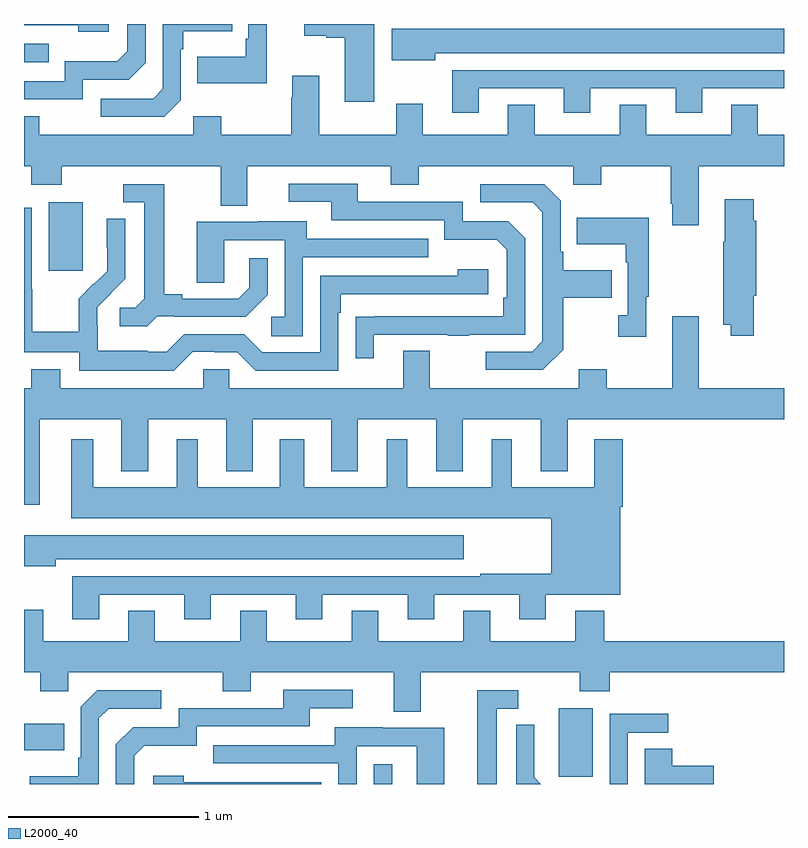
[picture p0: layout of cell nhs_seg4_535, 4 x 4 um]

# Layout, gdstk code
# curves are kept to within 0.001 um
import gdstk
lib = gdstk.Library(unit=1e-6, precision=1e-09)
def R(c, l, rs):  # rectangles x0, y0, x1, y1
    for r in rs: c.add(gdstk.rectangle(r[:2], r[2:], *l))
def P(c, l, *ps):  # polygons
    for p in ps: c.add(gdstk.Polygon(p, *l))
L2000_40 = (2000, 40)

nhs_seg4_535 = lib.new_cell('nhs_seg4_535')
R(nhs_seg4_535, L2000_40, [(138.84,794.9,138.937,795.004), (139.814,794.937,139.993,795.298), (137,795.077,137.213,795.217), (137.129,797.601,137.308,797.962), (137,798.699,137.129,798.795)])
P(nhs_seg4_535, L2000_40, [(137.446,798.9),(137,798.9),(137,798.894),(137.285,798.894),(137.285,798.86),(137.446,798.86)],
  [(138.278,798.9),(138.18,798.9),(138.18,798.823),(138.168,798.823),(138.168,798.727),(137.911,798.727),(137.911,798.587),(138.278,798.587)],
  [(137.31,798.606),(137.55,798.606),(137.64,798.696),(137.64,798.9),(137.544,798.9),(137.544,798.756),(137.491,798.703),(137.214,798.703),(137.214,798.6),(137,798.6),(137,798.504),(137.31,798.504)],
  [(138.844,798.9),(138.474,798.9),(138.474,798.839),(138.59,798.839),(138.59,798.827),(138.689,798.827),(138.689,798.492),(138.844,798.492)],
  [(137.826,798.498),(137.826,798.767),(137.839,798.767),(137.839,798.863),(138.095,798.863),(138.095,798.9),(137.73,798.9),(137.73,798.558),(137.679,798.507),(137.403,798.507),(137.403,798.411),(137.739,798.411)],
  [(139.165,798.746),(141,798.746),(141,798.874),(138.936,798.874),(138.936,798.71),(139.165,798.71)],
  [(139.393,798.561),(139.841,798.561),(139.841,798.432),(139.981,798.432),(139.981,798.561),(140.429,798.561),(140.429,798.432),(140.569,798.432),(140.569,798.561),(141,798.561),(141,798.657),(139.253,798.657),(139.253,798.432),(139.393,798.432)],
  [(140.551,798.152),(141,798.152),(141,798.316),(140.863,798.316),(140.863,798.476),(140.723,798.476),(140.723,798.316),(140.275,798.316),(140.275,798.476),(140.135,798.476),(140.135,798.316),(139.687,798.316),(139.687,798.476),(139.547,798.476),(139.547,798.316),(139.099,798.316),(139.099,798.481),(138.959,798.481),(138.959,798.316),(138.553,798.316),(138.553,798.628),(138.413,798.628),(138.413,798.515),(138.406,798.515),(138.406,798.316),(138.039,798.316),(138.039,798.415),(137.892,798.415),(137.892,798.316),(137.079,798.316),(137.079,798.415),(137,798.415),(137,798.152),(137.039,798.152),(137.039,798.053),(137.199,798.053),(137.199,798.152),(138.035,798.152),(138.035,797.944),(138.175,797.944),(138.175,798.152),(138.929,798.152),(138.929,798.053),(139.077,798.053),(139.077,798.152),(139.89,798.152),(139.89,798.053),(140.037,798.053),(140.037,798.152),(140.404,798.152),(140.404,797.953),(140.411,797.953),(140.411,797.841),(140.551,797.841)],
  [(138.841,797.265),(139.231,797.265),(139.231,797.26),(139.343,797.26),(139.343,797.265),(139.638,797.265),(139.638,797.772),(139.548,797.862),(139.308,797.862),(139.308,797.964),(138.757,797.964),(138.757,798.06),(138.393,798.06),(138.393,797.964),(138.617,797.964),(138.617,797.868),(139.212,797.868),(139.212,797.765),(139.489,797.765),(139.542,797.712),(139.542,797.458),(139.522,797.458),(139.522,797.361),(138.745,797.36),(138.745,797.142),(138.841,797.142)],
  [(137.7,797.361),(137.794,797.361),(137.794,797.358),(138.166,797.358),(138.282,797.474),(138.282,797.668),(138.185,797.668),(138.185,797.511),(138.128,797.454),(137.833,797.454),(137.833,797.477),(137.737,797.477),(137.737,798.057),(137.523,798.057),(137.523,797.961),(137.633,797.961),(137.633,797.453),(137.586,797.406),(137.505,797.406),(137.505,797.309),(137.648,797.309)],
  [(139.837,797.185),(139.837,797.458),(140.093,797.458),(140.093,797.605),(139.837,797.605),(139.837,797.701),(139.824,797.701),(139.824,797.97),(139.737,798.057),(139.401,798.057),(139.401,797.961),(139.677,797.961),(139.728,797.91),(139.728,797.229),(139.674,797.175),(139.431,797.175),(139.431,797.079),(139.731,797.079)],
  [(140.842,797.471),(140.855,797.471),(140.855,797.864),(140.842,797.864),(140.842,797.977),(140.687,797.977),(140.687,797.753),(140.68,797.753),(140.68,797.318),(140.72,797.318),(140.72,797.259),(140.842,797.259)],
  [(137.889,797.175),(138.005,797.175),(138.005,797.172),(138.123,797.172),(138.219,797.076),(138.654,797.076),(138.654,797.381),(138.667,797.381),(138.667,797.478),(139.444,797.478),(139.444,797.608),(139.283,797.608),(139.283,797.574),(138.558,797.574),(138.558,797.172),(138.255,797.172),(138.159,797.268),(137.844,797.268),(137.751,797.175),(137.651,797.175),(137.651,797.179),(137.388,797.179),(137.388,797.313),(137.386,797.313),(137.386,797.41),(137.532,797.558),(137.532,797.876),(137.436,797.876),(137.436,797.722),(137.438,797.722),(137.438,797.6),(137.367,797.529),(137.364,797.532),(137.287,797.455),(137.287,797.281),(137.043,797.281),(137.043,797.504),(137.04,797.504),(137.04,797.934),(137,797.934),(137,797.172),(137.292,797.172),(137.292,797.075),(137.789,797.075)],
  [(140.275,797.465),(140.287,797.465),(140.287,797.881),(139.909,797.881),(139.909,797.741),(140.166,797.741),(140.166,797.645),(140.178,797.645),(140.178,797.366),(140.127,797.366),(140.127,797.253),(140.275,797.253)],
  [(138.468,797.673),(139.127,797.673),(139.127,797.769),(138.487,797.769),(138.487,797.863),(138.233,797.863),(138.233,797.859),(137.909,797.859),(137.909,797.539),(138.054,797.539),(138.054,797.763),(138.372,797.763),(138.372,797.358),(138.3,797.358),(138.3,797.257),(138.468,797.257)],
  [(137.083,796.82),(137.513,796.82),(137.513,796.547),(137.653,796.547),(137.653,796.82),(138.065,796.82),(138.065,796.547),(138.205,796.547),(138.205,796.82),(138.617,796.82),(138.617,796.547),(138.757,796.547),(138.757,796.82),(139.169,796.82),(139.169,796.547),(139.309,796.547),(139.309,796.82),(139.721,796.82),(139.721,796.547),(139.861,796.547),(139.861,796.82),(141,796.82),(141,796.984),(140.551,796.984),(140.551,797.362),(140.411,797.362),(140.411,796.984),(140.067,796.984),(140.067,797.083),(139.919,797.083),(139.919,796.984),(139.135,796.984),(139.135,797.179),(138.995,797.179),(138.995,796.984),(138.081,796.984),(138.081,797.082),(137.943,797.082),(137.943,796.984),(137.191,796.984),(137.191,797.083),(137.039,797.083),(137.039,796.984),(137,796.984),(137,796.371),(137.083,796.371)],
  [(137.395,795.897),(137.843,795.897),(137.843,795.768),(137.983,795.768),(137.983,795.897),(138.431,795.897),(138.431,795.768),(138.571,795.768),(138.571,795.897),(139.019,795.897),(139.019,795.768),(139.159,795.768),(139.159,795.897),(139.607,795.897),(139.607,795.768),(139.747,795.768),(139.747,795.896),(140.137,795.896),(140.137,796.358),(140.15,796.358),(140.15,796.714),(140,796.714),(140,796.462),(139.567,796.462),(139.567,796.714),(139.463,796.714),(139.463,796.462),(139.018,796.462),(139.018,796.714),(138.908,796.714),(138.908,796.462),(138.475,796.462),(138.475,796.714),(138.347,796.714),(138.347,796.462),(137.914,796.462),(137.914,796.714),(137.804,796.714),(137.804,796.462),(137.365,796.462),(137.365,796.714),(137.249,796.714),(137.249,796.298),(139.775,796.298),(139.775,796.006),(139.402,796.006),(139.402,795.993),(137.255,795.993),(137.255,795.768),(137.395,795.768)],
  [(137.167,796.082),(139.315,796.082),(139.315,796.21),(137,796.21),(137,796.046),(137.167,796.046)],
  [(139.901,795.811),(139.901,795.652),(139.453,795.652),(139.453,795.812),(139.313,795.812),(139.313,795.652),(138.865,795.652),(138.865,795.812),(138.725,795.812),(138.725,795.652),(138.277,795.652),(138.277,795.812),(138.137,795.812),(138.137,795.652),(137.689,795.652),(137.689,795.812),(137.549,795.812),(137.549,795.652),(137.101,795.652),(137.101,795.817),(137,795.817),(137,795.488),(137.086,795.488),(137.086,795.389),(137.232,795.389),(137.232,795.488),(138.046,795.488),(138.046,795.389),(138.193,795.389),(138.193,795.488),(138.947,795.488),(138.947,795.28),(139.087,795.28),(139.087,795.488),(139.924,795.488),(139.924,795.389),(140.084,795.389),(140.084,795.488),(141,795.488),(141,795.652),(140.054,795.652),(140.054,795.811)],
  [(137.58,795.048),(137.633,795.101),(137.91,795.101),(137.91,795.204),(138.505,795.204),(138.505,795.3),(138.73,795.3),(138.73,795.396),(138.365,795.396),(138.365,795.3),(137.814,795.3),(137.814,795.198),(137.574,795.198),(137.484,795.108),(137.484,794.9),(137.58,794.9)],
  [(137.394,795.246),(137.445,795.297),(137.722,795.297),(137.722,795.393),(137.385,795.393),(137.298,795.306),(137.298,795.037),(137.286,795.037),(137.286,794.941),(137.029,794.941),(137.029,794.9),(137.394,794.9)],
  [(139.489,795.297),(139.6,795.297),(139.6,795.393),(139.385,795.393),(139.385,794.9),(139.489,794.9)],
  [(140.178,795.171),(140.392,795.171),(140.392,795.27),(140.082,795.27),(140.082,794.9),(140.178,794.9)],
  [(139.685,794.936),(139.685,795.058),(139.686,795.058),(139.686,795.212),(139.59,795.212),(139.59,794.9),(139.72,794.9)],
  [(138.75,795.099),(139.068,795.099),(139.068,794.9),(139.213,794.9),(139.213,795.195),(138.889,795.195),(138.889,795.199),(138.635,795.199),(138.635,795.105),(137.995,795.105),(137.995,795.009),(138.654,795.009),(138.654,794.9),(138.75,794.9)],
  [(140.629,794.996),(140.411,794.996),(140.411,795.086),(140.267,795.086),(140.267,794.9),(140.629,794.9)],
  [(138.564,794.91),(137.84,794.91),(137.84,794.944),(137.679,794.944),(137.679,794.9),(138.564,794.9)])

lib.write_gds('nhs_seg4_535.gds')
